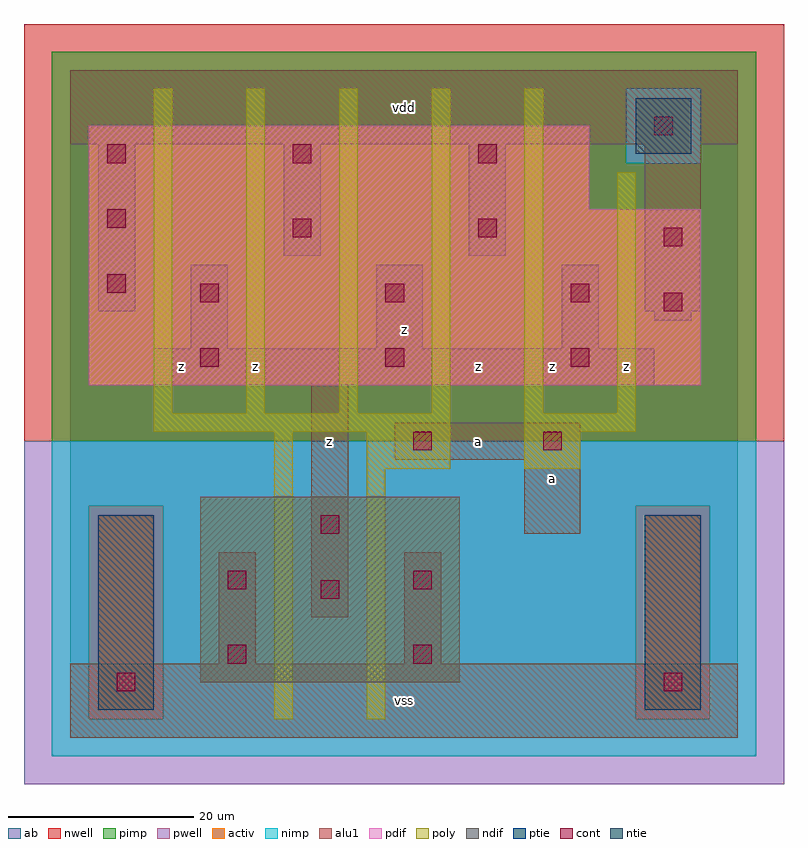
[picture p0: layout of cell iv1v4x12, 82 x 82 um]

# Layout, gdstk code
import gdstk
lib = gdstk.Library(unit=1e-6, precision=1e-09)
def R(c, l, rs):  # rectangles x0, y0, x1, y1
    for r in rs: c.add(gdstk.rectangle(r[:2], r[2:], *l))
def A(c, l, x, y, w, h, nx, ny, dx, dy):  # array of equal rectangles
    R(c, l, [(x+i*dx, y+j*dy, x+i*dx+w, y+j*dy+h) for i in range(nx) for j in range(ny)])
ndif = (3, 0)
pdif = (4, 0)
ntie = (5, 0)
ptie = (6, 0)
cont = (25, 0)
pwell = (41, 0)
nwell = (42, 0)
activ = (43, 0)
pimp = (44, 0)
nimp = (45, 0)
poly = (46, 0)
alu1 = (49, 0)
ab = (63, 0)

iv1v4x12 = lib.new_cell('iv1v4x12')
R(iv1v4x12, ndif, [(14,6,42,26)])
R(iv1v4x12, pdif, [(2,38,68,57), (2,57,56,66)])
R(iv1v4x12, ntie, [(61,63,67,69)])
R(iv1v4x12, ptie, [(3,3,9,24), (62,3,68,24)])
A(iv1v4x12, cont, 14, 40, 2, 2, 3, 2, 20, 7)
A(iv1v4x12, cont, 4, 62, 2, 2, 3, 1, 20, 0)
R(iv1v4x12, cont, [(5,5,7,7), (64,5,66,7), (17,8,19,10), (37,8,39,10), (27,15,29,17), (17,16,19,18), (37,16,39,18), (27,22,29,24), (37,31,39,33), (51,31,53,33), (64,46,66,48), (4,48,6,50), (64,53,66,55), (24,54,26,56), (44,54,46,56), (4,55,6,57), (63,65,65,67)])
R(iv1v4x12, pwell, [(-5,-5,77,32)])
R(iv1v4x12, nwell, [(-5,32,77,77)])
R(iv1v4x12, activ, [(3,3,9,24), (62,3,68,24), (14,6,42,26), (2,38,68,57), (2,57,56,66), (61,63,67,69)])
R(iv1v4x12, pimp, [(2,2,10,25), (61,2,69,25), (-2,32,74,62), (-2,62,60,70), (68,62,74,70), (-2,70,74,74)])
R(iv1v4x12, nimp, [(-2,-2,74,2), (-2,2,2,25), (10,2,61,25), (69,2,74,25), (-2,25,74,32), (60,62,68,70)])
A(iv1v4x12, poly, 9, 35, 2, 35, 5, 1, 10, 0)
R(iv1v4x12, poly, [(22,2,24,33), (32,2,34,29), (32,29,41,33), (49,29,55,33), (9,33,41,35), (49,33,61,35), (59,35,61,61)])
R(iv1v4x12, alu1, [(0,0,72,8), (16,8,20,20), (36,8,40,20), (26,13,30,38), (49,22,55,30), (35,30,55,34), (9,38,63,42), (13,42,17,51), (33,42,38,51), (53,42,57,51), (63,45,67,46), (3,46,7,64), (62,46,68,64), (23,52,27,64), (43,52,47,64), (0,64,72,72)])
R(iv1v4x12, ab, [(0,0,72,72)])
iv1v4x12.add(gdstk.Label('z', (12,40), layer=49, texttype=0))
iv1v4x12.add(gdstk.Label('z', (28,32), layer=49, texttype=0))
iv1v4x12.add(gdstk.Label('z', (20,40), layer=49, texttype=0))
iv1v4x12.add(gdstk.Label('vss', (36,4), layer=49, texttype=0))
iv1v4x12.add(gdstk.Label('a', (44,32), layer=49, texttype=0))
iv1v4x12.add(gdstk.Label('a', (52,28), layer=49, texttype=0))
iv1v4x12.add(gdstk.Label('z', (44,40), layer=49, texttype=0))
iv1v4x12.add(gdstk.Label('z', (52,40), layer=49, texttype=0))
iv1v4x12.add(gdstk.Label('z', (36,44), layer=49, texttype=0))
iv1v4x12.add(gdstk.Label('vdd', (36,68), layer=49, texttype=0))
iv1v4x12.add(gdstk.Label('z', (60,40), layer=49, texttype=0))

lib.write_gds('iv1v4x12.gds')
